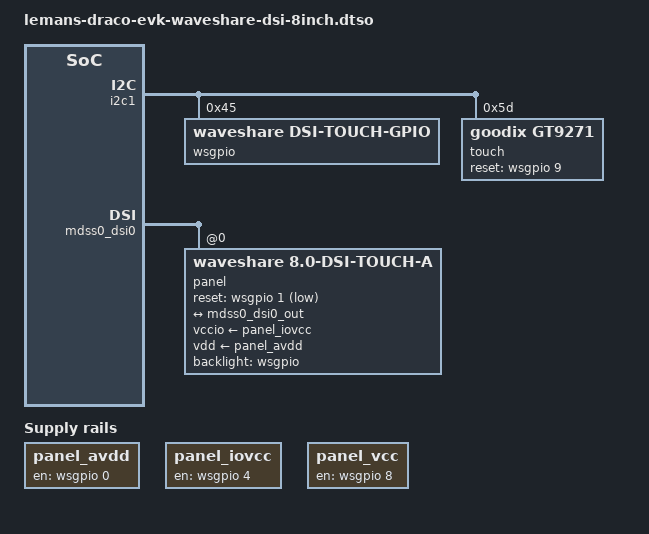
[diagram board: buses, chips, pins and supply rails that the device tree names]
// SPDX-License-Identifier: BSD-3-Clause
/*
 * Copyright (c) Qualcomm Technologies, Inc. and/or its subsidiaries.
 */

/dts-v1/;
/plugin/;

#include <dt-bindings/gpio/gpio.h>

&{/} {
	panel_avdd: regulator-panel-avdd {
		compatible = "regulator-fixed";
		gpios = <&wsgpio 0 GPIO_ACTIVE_HIGH>;
		regulator-name = "panel-avdd";
		enable-active-high;
	};

	panel_iovcc: regulator-panel-iovcc {
		compatible = "regulator-fixed";
		gpios = <&wsgpio 4 GPIO_ACTIVE_HIGH>;
		regulator-name = "panel-iovcc";
		enable-active-high;
	};

	panel_vcc: regulator-panel-vcc {
		compatible = "regulator-fixed";
		gpios = <&wsgpio 8 GPIO_ACTIVE_HIGH>;
		regulator-name = "panel-vcc";
		enable-active-high;
		regulator-always-on;
	};
};

&hdmi_bridge {
	status = "disabled";
};

&hdmi_connector {
	status = "disabled";
};

&i2c1 {
	i2c-mux@70 {
		#address-cells = <1>;
		#size-cells = <0>;

		i2c@0 {
			#address-cells = <1>;
			#size-cells = <0>;

			wsgpio: gpio@45 {
				compatible = "waveshare,dsi-touch-gpio";
				reg = <0x45>;
				gpio-controller;
				#gpio-cells = <2>;
			};

			touch: goodix@5d {
				compatible = "goodix,gt9271";
				reg = <0x5d>;
				reset-gpios = <&wsgpio 9 GPIO_ACTIVE_HIGH>;
			};
		};
	};
};

&mdss0_dsi0 {
	status = "okay";

	#address-cells = <1>;
	#size-cells = <0>;

	panel@0 {
		compatible = "waveshare,8.0-dsi-touch-a", "jadard,jd9365da-h3";
		reg = <0>;

		backlight = <&wsgpio>;
		reset-gpios = <&wsgpio 1 GPIO_ACTIVE_LOW>;
		vccio-supply = <&panel_iovcc>;
		vdd-supply = <&panel_avdd>;

		port {
			panel0_in: endpoint {
				remote-endpoint = <&mdss0_dsi0_out>;
			};
		};
	};
};

&mdss0_dsi0_out {
	remote-endpoint = <&panel0_in>;
	data-lanes = <0 1 2 3>;
};
